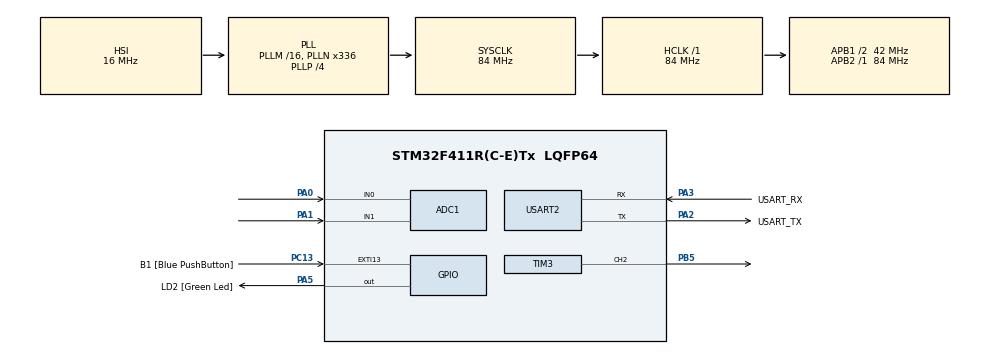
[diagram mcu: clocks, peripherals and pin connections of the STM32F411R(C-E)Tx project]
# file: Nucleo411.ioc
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ADC1.Channel-0\#ChannelRegularConversion=ADC_CHANNEL_0
ADC1.NbrOfConversionFlag=1
ADC1.Rank-0\#ChannelRegularConversion=1
ADC1.SamplingTime-0\#ChannelRegularConversion=ADC_SAMPLETIME_3CYCLES
ADC1.master=1
Dma.Request0=USART2_RX
Dma.USART2_RX.0.Direction=DMA_PERIPH_TO_MEMORY
Dma.USART2_RX.0.FIFOMode=DMA_FIFOMODE_ENABLE
Dma.USART2_RX.0.FIFOThreshold=DMA_FIFO_THRESHOLD_1QUARTERFULL
Dma.USART2_RX.0.Instance=DMA1_Stream5
Dma.USART2_RX.0.MemBurst=DMA_MBURST_SINGLE
Dma.USART2_RX.0.MemDataAlignment=DMA_MDATAALIGN_BYTE
Dma.USART2_RX.0.MemInc=DMA_MINC_ENABLE
Dma.USART2_RX.0.Mode=DMA_CIRCULAR
Dma.USART2_RX.0.PeriphBurst=DMA_PBURST_SINGLE
Dma.USART2_RX.0.PeriphDataAlignment=DMA_PDATAALIGN_BYTE
Dma.USART2_RX.0.PeriphInc=DMA_PINC_DISABLE
Dma.USART2_RX.0.Priority=DMA_PRIORITY_LOW
Mcu.Family=STM32F4
Mcu.Name=STM32F411R(C-E)Tx
Mcu.Package=LQFP64
NVIC.DMA1_Stream5_IRQn=true\:0\:0\:false\:false\:true\:false\:true\:true
NVIC.PriorityGroup=NVIC_PRIORITYGROUP_0
NVIC.TIM1_UP_TIM10_IRQn=true\:0\:0\:false\:false\:true\:true\:true\:true
NVIC.USART2_IRQn=true\:0\:0\:false\:false\:true\:true\:true\:true
PA0-WKUP.Signal=ADCx_IN0
PA1.Signal=ADCx_IN1
PA13.GPIO_Label=TMS
PA13.Mode=Serial_Wire
PA13.Signal=SYS_JTMS-SWDIO
PA14.GPIO_Label=TCK
PA14.Mode=Serial_Wire
PA14.Signal=SYS_JTCK-SWCLK
PA2.GPIO_Label=USART_TX
PA2.Mode=Asynchronous
PA2.Signal=USART2_TX
PA3.GPIO_Label=USART_RX
PA3.Mode=Asynchronous
PA3.Signal=USART2_RX
PA5.GPIO_Label=LD2 [Green Led]
PA5.Signal=GPIO_Output
PB3.GPIO_Label=SWO
PB3.Signal=SYS_JTDO-SWO
PB5.Signal=S_TIM3_CH2
PC13-ANTI_TAMP.GPIO_Label=B1 [Blue PushButton]
PC13-ANTI_TAMP.GPIO_ModeDefaultEXTI=GPIO_MODE_IT_FALLING
PC13-ANTI_TAMP.Signal=GPXTI13
PC14-OSC32_IN.Mode=LSE-External-Oscillator
PC14-OSC32_IN.Signal=RCC_OSC32_IN
PC15-OSC32_OUT.Mode=LSE-External-Oscillator
PC15-OSC32_OUT.Signal=RCC_OSC32_OUT
PH0\ -\ OSC_IN.Mode=HSE-External-Clock-Source
PH0\ -\ OSC_IN.Signal=RCC_OSC_IN
PH1\ -\ OSC_OUT.Mode=HSE-External-Clock-Source
PH1\ -\ OSC_OUT.Signal=RCC_OSC_OUT
ProjectManager.HeapSize=0x00
ProjectManager.StackSize=0x800
ProjectManager.TargetToolchain=STM32CubeIDE
RCC.48MHZClocksFreq_Value=84000000
RCC.AHBFreq_Value=84000000
RCC.APB1CLKDivider=RCC_HCLK_DIV2
RCC.APB1Freq_Value=42000000
RCC.APB1TimFreq_Value=84000000
RCC.APB2Freq_Value=84000000
RCC.APB2TimFreq_Value=84000000
RCC.CortexFreq_Value=84000000
RCC.FLatency-AdvancedSettings=FLASH_LATENCY_2
RCC.HCLKFreq_Value=84000000
RCC.HSE_VALUE=8000000
RCC.HSI_VALUE=16000000
RCC.PLLN=336
RCC.PLLP=RCC_PLLP_DIV4
RCC.RCC_RTC_Clock_Source=RCC_RTCCLKSOURCE_LSE
RCC.RCC_RTC_Clock_SourceVirtual=RCC_RTCCLKSOURCE_LSE
RCC.SYSCLKFreq_VALUE=84000000
RCC.SYSCLKSource=RCC_SYSCLKSOURCE_PLLCLK
RCC.VCOOutputFreq_Value=336000000
SH.ADCx_IN0.0=ADC1_IN0,IN0
SH.ADCx_IN1.0=ADC1_IN1,IN1
SH.S_TIM3_CH2.0=TIM3_CH2,PWM Generation2 CH2
TIM2.Prescaler=8399
TIM3.Channel-PWM\ Generation2\ CH2=TIM_CHANNEL_2
USART2.VirtualMode=VM_ASYNC
VP_ADC1_TempSens_Input.Mode=IN-TempSens
VP_ADC1_Vref_Input.Mode=IN-Vrefint
VP_RTC_VS_RTC_Activate.Mode=RTC_Enabled
VP_RTC_VS_RTC_Calendar.Mode=RTC_Calendar
VP_TIM10_VS_ClockSourceINT.Mode=Enable_Timer
VP_TIM10_VS_OPM.Mode=OPM_bit
VP_TIM2_VS_ClockSourceINT.Mode=Internal
VP_TIM3_VS_ClockSourceINT.Mode=Internal
board=NUCLEO-F411RE

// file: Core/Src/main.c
/* USER CODE BEGIN Header */
/**
  ******************************************************************************
  * @file           : main.c
  * @brief          : Main program body
  ******************************************************************************
  * @attention
  *
  * Copyright (c) 2026 STMicroelectronics.
  * All rights reserved.
  *
  * This software is licensed under terms that can be found in the LICENSE file
  * in the root directory of this software component.
  * If no LICENSE file comes with this software, it is provided AS-IS.
  *
  ******************************************************************************
  */
/* USER CODE END Header */
#include "main.h"
#include "adc.h"
#include "dma.h"
#include "rtc.h"
#include "tim.h"
#include "usart.h"
#include "gpio.h"

/* USER CODE BEGIN Includes */

#include "cli_transport_usart2.h"
#include "tea.h"
#include "nucleo_cli.h"

void init_tea();
void init_cli();
void run();

void ADC_Driver_Init();   // once, after clocks are up
void MW_Init(void);

/* USER CODE END Includes */

void SystemClock_Config(void);

int main(void)
{

  /* MCU Configuration--------------------------------------------------------*/

  /* Reset of all peripherals, Initializes the Flash interface and the Systick. */
  HAL_Init();

  /* USER CODE BEGIN Init */
  stack_canary_init();   /* fill stack with 0xDEADBEEF before any deep calls */

  /* USER CODE END Init */

  /* Configure the system clock */
  SystemClock_Config();

  /* Initialize all configured peripherals */
  MX_GPIO_Init();
  MX_DMA_Init();
  MX_RTC_Init();
  MX_TIM2_Init();
  MX_TIM10_Init();
  MX_USART2_UART_Init();
  MX_ADC1_Init();
  MX_TIM3_Init();
  /* USER CODE BEGIN 2 */
  init_tea();
  init_cli();
  usart2_transport_init();
  print_build_banner();
  ADC_Driver_Init();
  later(MW_Init);

  /* USER CODE END 2 */

  /* Infinite loop */
  /* USER CODE BEGIN WHILE */
  while (1)
  {
    run();
    micro_sleep();
    /* USER CODE END WHILE */

  }
}

void SystemClock_Config(void)
{
  RCC_OscInitTypeDef RCC_OscInitStruct = {0};
  RCC_ClkInitTypeDef RCC_ClkInitStruct = {0};

  /** Configure the main internal regulator output voltage
  */
  __HAL_RCC_PWR_CLK_ENABLE();
  __HAL_PWR_VOLTAGESCALING_CONFIG(PWR_REGULATOR_VOLTAGE_SCALE1);

  /** Initializes the RCC Oscillators according to the specified parameters
  * in the RCC_OscInitTypeDef structure.
  */
  RCC_OscInitStruct.OscillatorType = RCC_OSCILLATORTYPE_HSI|RCC_OSCILLATORTYPE_LSE;
  RCC_OscInitStruct.LSEState = RCC_LSE_ON;
  RCC_OscInitStruct.HSIState = RCC_HSI_ON;
  RCC_OscInitStruct.HSICalibrationValue = RCC_HSICALIBRATION_DEFAULT;
  RCC_OscInitStruct.PLL.PLLState = RCC_PLL_ON;
  RCC_OscInitStruct.PLL.PLLSource = RCC_PLLSOURCE_HSI;
  RCC_OscInitStruct.PLL.PLLM = 16;
  RCC_OscInitStruct.PLL.PLLN = 336;
  RCC_OscInitStruct.PLL.PLLP = RCC_PLLP_DIV4;
  RCC_OscInitStruct.PLL.PLLQ = 4;
  if (HAL_RCC_OscConfig(&RCC_OscInitStruct) != HAL_OK)
  {
    Error_Handler();
  }

  /** Initializes the CPU, AHB and APB buses clocks
  */
  RCC_ClkInitStruct.ClockType = RCC_CLOCKTYPE_HCLK|RCC_CLOCKTYPE_SYSCLK
                              |RCC_CLOCKTYPE_PCLK1|RCC_CLOCKTYPE_PCLK2;
  RCC_ClkInitStruct.SYSCLKSource = RCC_SYSCLKSOURCE_PLLCLK;
  RCC_ClkInitStruct.AHBCLKDivider = RCC_SYSCLK_DIV1;
  RCC_ClkInitStruct.APB1CLKDivider = RCC_HCLK_DIV2;
  RCC_ClkInitStruct.APB2CLKDivider = RCC_HCLK_DIV1;

  if (HAL_RCC_ClockConfig(&RCC_ClkInitStruct, FLASH_LATENCY_2) != HAL_OK)
  {
    Error_Handler();
  }
}

void Error_Handler(void)
{
  __disable_irq();
  while (1)
  {
  }
}
